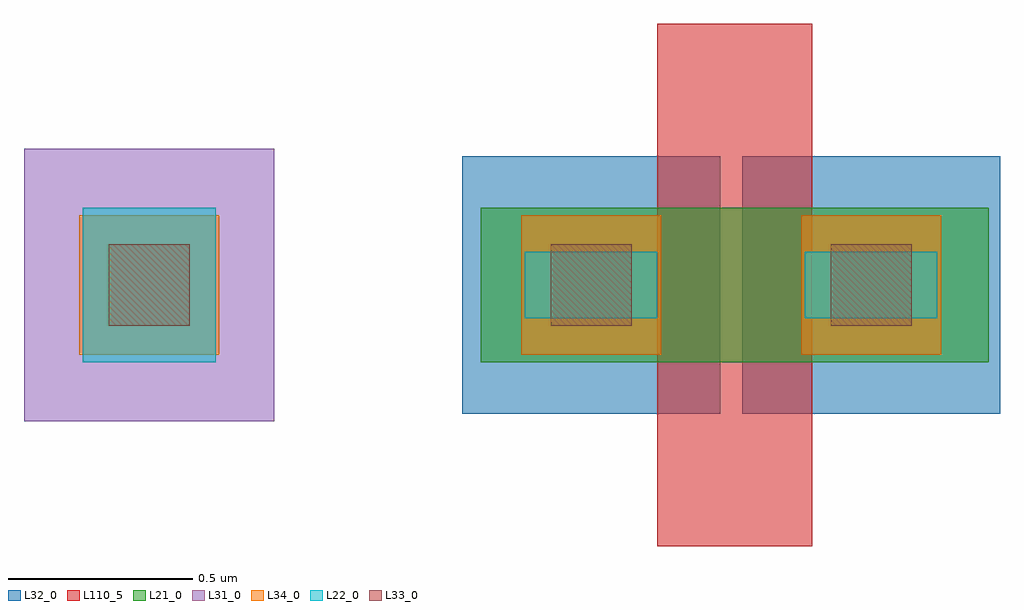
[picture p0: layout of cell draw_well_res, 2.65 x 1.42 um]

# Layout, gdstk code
import gdstk
lib = gdstk.Library(unit=1e-6, precision=1e-09)
def R(c, l, rs):  # rectangles x0, y0, x1, y1
    for r in rs: c.add(gdstk.rectangle(r[:2], r[2:], *l))
L21_0 = (21, 0)
L22_0 = (22, 0)
L31_0 = (31, 0)
L32_0 = (32, 0)
L33_0 = (33, 0)
L34_0 = (34, 0)
L110_5 = (110, 5)

draw_well_res = lib.new_cell('draw_well_res')
R(draw_well_res, L21_0, [(-0.48,0.5,0.9,0.92)])
R(draw_well_res, L22_0, [(-1.56,0.5,-1.2,0.92), (-0.36,0.62,0,0.8), (0.4,0.62,0.76,0.8)])
R(draw_well_res, L31_0, [(-1.72,0.34,-1.04,1.08)])
R(draw_well_res, L32_0, [(-0.53,0.36,0.17,1.06), (0.23,0.36,0.93,1.06)])
R(draw_well_res, L33_0, [(-1.49,0.6,-1.27,0.82), (-0.29,0.6,-0.07,0.82), (0.47,0.6,0.69,0.82)])
R(draw_well_res, L34_0, [(-1.57,0.52,-1.19,0.9), (-0.37,0.52,0.01,0.9), (0.39,0.52,0.77,0.9)])
R(draw_well_res, L110_5, [(0,0,0.42,1.42)])

lib.write_gds('draw_well_res.gds')
